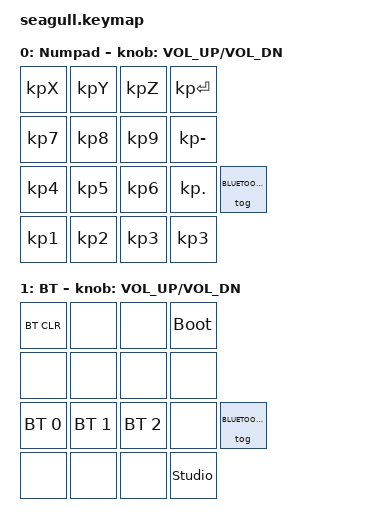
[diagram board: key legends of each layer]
#include <behaviors.dtsi>
#include <dt-bindings/zmk/keys.h>
#include <dt-bindings/zmk/bt.h>

#define NUMPAD      0
#define BLUETOOTH   1

/ {
    keymap {
        compatible = "zmk,keymap";

        /* ================= NUMPAD ================= */
        layer_numpad {
            display-name = "Numpad";

            bindings = <
                &kp KP_X       &kp KP_Y        &kp KP_Z        &kp KP_ENTER
                &kp KP_7       &kp KP_8        &kp KP_9        &kp KP_MINUS
                &kp KP_4       &kp KP_5        &kp KP_6        &kp KP_DOT    &tog BLUETOOTH
                &kp KP_1       &kp KP_2        &kp KP_3        &kp KP_3
            >;

            /* encoder (sensor) */
            sensor-bindings = <
                &inc_dec_kp C_VOL_UP C_VOL_DN
            >;
        };

        /* ================= BLUETOOTH ================= */
        layer_bluetooth {
            display-name = "BT";

            bindings = <
                &bt BT_CLR      &none         &none           &bootloader
                &none           &none         &none           &none
                &bt BT_SEL 0    &bt BT_SEL 1  &bt BT_SEL 2    &none        &tog BLUETOOTH
                &none           &none         &none           &studio_unlock
            >;

            sensor-bindings = <
                &inc_dec_kp C_VOL_UP C_VOL_DN
            >;
        };

        /* ================= RESERVED (ZMK STUDIO) ================= */
        extra_layer_2 { status = "reserved"; };
        extra_layer_3 { status = "reserved"; };
        extra_layer_4 { status = "reserved"; };
        extra_layer_5 { status = "reserved"; };
    };
};
